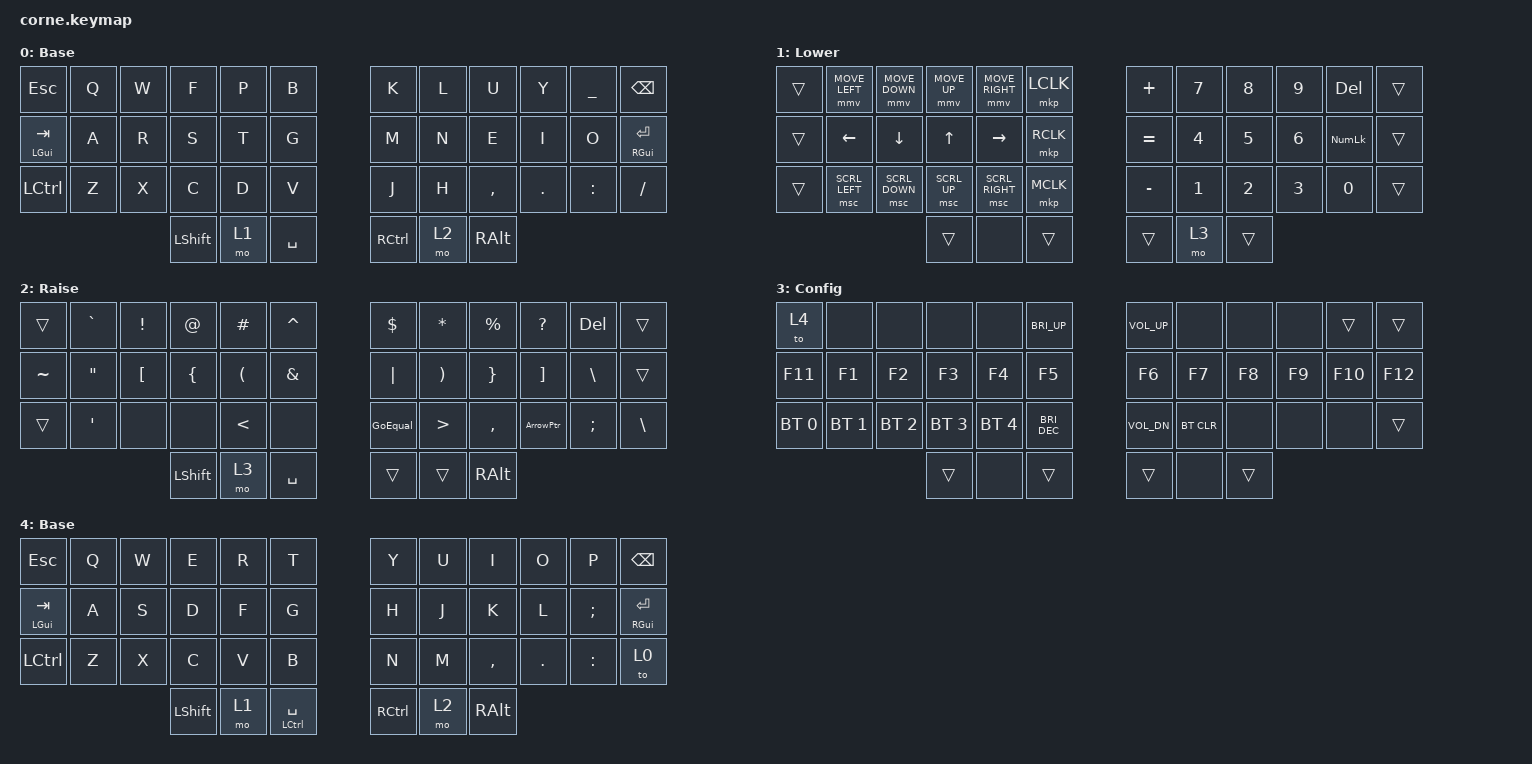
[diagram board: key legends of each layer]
/*
* Copyright (c) 2020 The ZMK Contributors
*
* SPDX-License-Identifier: MIT
*/

#define ZMK_POINTING_DEFAULT_MOVE_VAL 600
#define ZMK_POINTING_DEFAULT_SCRL_VAL 10

#include <behaviors.dtsi>
#include <dt-bindings/zmk/bt.h>
#include <dt-bindings/zmk/keys.h>
#include <dt-bindings/zmk/pointing.h>

/ {
    behaviors {
        TwoKeyPress: TwoKeyPress {
            compatible = "zmk,behavior-hold-tap";
            label = "TWOKEYPRESS";
            bindings = <&kp>, <&kp>;

            #binding-cells = <2>;
            flavor = "tap-preferred";
            tapping-term-ms = <200>;
        };
    };

    combos {
        compatible = "zmk,combos";

        esc_combo {
            bindings = <&kp ESC>;
            key-positions = <19 20>;
            timeout-ms = <25>;
        };
    };

    macros {
        ArrowPtr: ArrowPtr {
            compatible = "zmk,behavior-macro";
            #binding-cells = <0>;
            bindings = <&kp MINUS &kp GT>;
            label = "ARROWPTR";
            tap-ms = <5>;
        };

        GoEqual: new_macro {
            compatible = "zmk,behavior-macro";
            #binding-cells = <0>;
            bindings = <&kp COLON &kp EQUAL>;
            label = "NEW_MACRO";
        };
    };

    keymap {
        compatible = "zmk,keymap";

        base {
            display-name = "Base"; // Colemak DH + JK swapped (Vim up/down)
            bindings = <
&kp ESC                    &kp Q  &kp W  &kp F           &kp P  &kp B        &kp K      &kp L  &kp U      &kp Y    &kp UNDER  &kp BSPC
&TwoKeyPress LEFT_GUI TAB  &kp A  &kp R  &kp S           &kp T  &kp G        &kp M      &kp N  &kp E      &kp I    &kp O      &TwoKeyPress RIGHT_GUI RETURN
&kp LCTRL                  &kp Z  &kp X  &kp C           &kp D  &kp V        &kp J      &kp H  &kp COMMA  &kp DOT  &kp COLON  &kp SLASH
                                         &kp LEFT_SHIFT  &mo 1  &kp SPACE    &kp RCTRL  &mo 2  &kp RALT
            >;
        };

        numpads {
            display-name = "Lower";
            bindings = <
&trans  &mmv MOVE_LEFT  &mmv MOVE_DOWN  &mmv MOVE_UP  &mmv MOVE_RIGHT  &mkp LCLK    &kp PLUS   &kp N7  &kp N8  &kp N9  &kp DEL         &trans
&trans  &kp LEFT        &kp DOWN        &kp UP        &kp RIGHT        &mkp RCLK    &kp EQUAL  &kp N4  &kp N5  &kp N6  &kp KP_NUMLOCK  &trans
&trans  &msc SCRL_LEFT  &msc SCRL_DOWN  &msc SCRL_UP  &msc SCRL_RIGHT  &mkp MCLK    &kp MINUS  &kp N1  &kp N2  &kp N3  &kp N0          &trans
                                        &trans        &none            &trans       &trans     &mo 3   &trans
            >;
        };

        symbols {
            display-name = "Raise";
            bindings = <
&trans     &kp GRAVE          &kp EXCL          &kp AT          &kp HASH              &kp CARET        &kp DOLLAR  &kp ASTERISK           &kp PERCENT      &kp QUESTION  &kp DELETE     &trans
&kp TILDE  &kp DOUBLE_QUOTES  &kp LEFT_BRACKET  &kp LEFT_BRACE  &kp LEFT_PARENTHESIS  &kp AMPERSAND    &kp PIPE    &kp RIGHT_PARENTHESIS  &kp RIGHT_BRACE  &kp RBKT      &kp BACKSLASH  &trans
&trans     &kp SINGLE_QUOTE   &none             &none           &kp LT                &none            &GoEqual    &kp GREATER_THAN       &kp COMMA        &ArrowPtr     &kp SEMI       &kp BACKSLASH
                                                &kp LEFT_SHIFT  &mo 3                 &kp SPACE        &trans      &trans                 &kp RALT
            >;
        };

        config_layer {
            display-name = "Config";
            bindings = <
&to 4         &none         &none         &none         &none         &kp C_BRI_UP            &kp C_VOL_UP  &none        &none   &none   &trans   &trans
&kp F11       &kp F1        &kp F2        &kp F3        &kp F4        &kp F5                  &kp F6        &kp F7       &kp F8  &kp F9  &kp F10  &kp F12
&bt BT_SEL 0  &bt BT_SEL 1  &bt BT_SEL 2  &bt BT_SEL 3  &bt BT_SEL 4  &kp C_BRIGHTNESS_DEC    &kp C_VOL_DN  &bt BT_CLR   &none   &none   &none    &trans
                                          &trans        &none         &trans                  &trans        &none        &trans
            >;
        };

        QWERTY {
            display-name = "Base";
            bindings = <
&kp ESC                    &kp Q  &kp W  &kp E           &kp R  &kp T                       &kp Y      &kp U  &kp I      &kp O    &kp P      &kp BSPC
&TwoKeyPress LEFT_GUI TAB  &kp A  &kp S  &kp D           &kp F  &kp G                       &kp H      &kp J  &kp K      &kp L    &kp SEMI   &TwoKeyPress RIGHT_GUI RETURN
&kp LCTRL                  &kp Z  &kp X  &kp C           &kp V  &kp B                       &kp N      &kp M  &kp COMMA  &kp DOT  &kp COLON  &to 0
                                         &kp LEFT_SHIFT  &mo 1  &TwoKeyPress LCTRL SPACE    &kp RCTRL  &mo 2  &kp RALT
            >;
        };
    };
};

